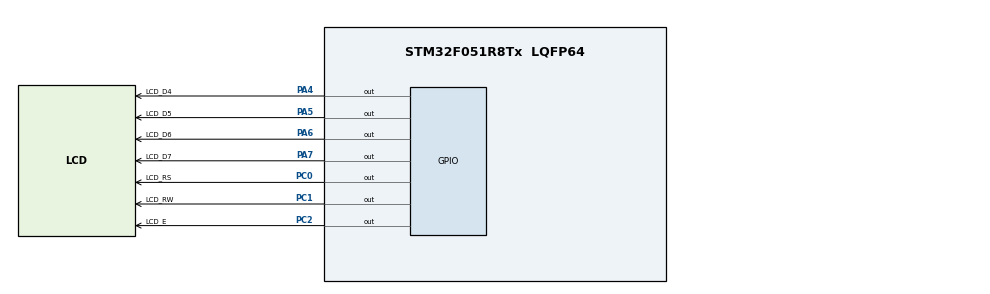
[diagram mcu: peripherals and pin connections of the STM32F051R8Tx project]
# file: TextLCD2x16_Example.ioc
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Mcu.Family=STM32F0
Mcu.Name=STM32F051R8Tx
Mcu.Package=LQFP64
PA13.Mode=Serial_Wire
PA13.Signal=SYS_SWDIO
PA14.Mode=Serial_Wire
PA14.Signal=SYS_SWCLK
PA4.GPIO_Label=LCD_D4
PA4.Signal=GPIO_Output
PA5.GPIO_Label=LCD_D5
PA5.Signal=GPIO_Output
PA6.GPIO_Label=LCD_D6
PA6.Signal=GPIO_Output
PA7.GPIO_Label=LCD_D7
PA7.Signal=GPIO_Output
PC0.GPIO_Label=LCD_RS
PC0.Signal=GPIO_Output
PC1.GPIO_Label=LCD_RW
PC1.Signal=GPIO_Output
PC2.GPIO_Label=LCD_E
PC2.Signal=GPIO_Output
ProjectManager.HeapSize=0x200
ProjectManager.StackSize=0x400
ProjectManager.TargetToolchain=MDK-ARM V5.32
board=custom

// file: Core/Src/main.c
/* USER CODE BEGIN Header */
/**
  ******************************************************************************
  * @file           : main.c
  * @brief          : Main program body
  ******************************************************************************
  * @attention
  *
  * Copyright (c) 2023 STMicroelectronics.
  * All rights reserved.
  *
  * This software is licensed under terms that can be found in the LICENSE file
  * in the root directory of this software component.
  * If no LICENSE file comes with this software, it is provided AS-IS.
  *
  ******************************************************************************
  */
/* USER CODE END Header */
#include "main.h"

/* USER CODE BEGIN Includes */
#include "myLCD.h"
/* USER CODE END Includes */

/* USER CODE BEGIN PV */
char* name = "Nguyen Duy Quy ";
/* USER CODE END PV */

void SystemClock_Config(void);
static void MX_GPIO_Init(void);
/* USER CODE BEGIN PFP */
void portA_Direction(uint8_t dir)//0 = input, 1 = output
{
	if(dir==0)
	{
		GPIOA->MODER=0X00;
		GPIOA->PUPDR=0X00;
	}else if(dir ==1)
	{
		GPIOA->MODER=0X55555555;
		GPIOA->PUPDR=0X00;
		GPIOA->OTYPER = 0x00;
		GPIOA->OSPEEDR = 0x33333333;
	}
}
/* USER CODE END PFP */

int main(void)
{
  /* USER CODE BEGIN 1 */
	char* ptr = name;
  /* USER CODE END 1 */

  /* MCU Configuration--------------------------------------------------------*/

  /* Reset of all peripherals, Initializes the Flash interface and the Systick. */
  HAL_Init();

  /* Configure the system clock */
  SystemClock_Config();

  /* Initialize all configured peripherals */
  MX_GPIO_Init();
  /* USER CODE BEGIN 2 */
	init_LCD();
	clr_LCD(); // clear LCD
	move_LCD(2,1);
	print_LCD("2x16 LCD Display",16);
  /* USER CODE END 2 */

  /* USER CODE END 2 */

  /* Infinite loop */
  /* USER CODE BEGIN WHILE */
  while (1)
		{
		for(int i =16;i>=1;i--)
		{
			move_LCD(1,i);
			print_LCD(name,16);
			HAL_Delay(500);
		}
		ptr = name;
		for(int i =15;i>=0;i--)
		{
		move_LCD(1,1);
		ptr++;
		print_LCD(ptr,i);
		HAL_Delay(500);
		}
    /* USER CODE END WHILE */

  }
}

void SystemClock_Config(void)
{
  RCC_OscInitTypeDef RCC_OscInitStruct = {0};
  RCC_ClkInitTypeDef RCC_ClkInitStruct = {0};

  /** Initializes the RCC Oscillators according to the specified parameters
  * in the RCC_OscInitTypeDef structure.
  */
  RCC_OscInitStruct.OscillatorType = RCC_OSCILLATORTYPE_HSI;
  RCC_OscInitStruct.HSIState = RCC_HSI_ON;
  RCC_OscInitStruct.HSICalibrationValue = RCC_HSICALIBRATION_DEFAULT;
  RCC_OscInitStruct.PLL.PLLState = RCC_PLL_NONE;
  if (HAL_RCC_OscConfig(&RCC_OscInitStruct) != HAL_OK)
  {
    Error_Handler();
  }

  /** Initializes the CPU, AHB and APB buses clocks
  */
  RCC_ClkInitStruct.ClockType = RCC_CLOCKTYPE_HCLK|RCC_CLOCKTYPE_SYSCLK
                              |RCC_CLOCKTYPE_PCLK1;
  RCC_ClkInitStruct.SYSCLKSource = RCC_SYSCLKSOURCE_HSI;
  RCC_ClkInitStruct.AHBCLKDivider = RCC_SYSCLK_DIV1;
  RCC_ClkInitStruct.APB1CLKDivider = RCC_HCLK_DIV1;

  if (HAL_RCC_ClockConfig(&RCC_ClkInitStruct, FLASH_LATENCY_0) != HAL_OK)
  {
    Error_Handler();
  }
}

static void MX_GPIO_Init(void)
{
  GPIO_InitTypeDef GPIO_InitStruct = {0};

  /* GPIO Ports Clock Enable */
  __HAL_RCC_GPIOC_CLK_ENABLE();
  __HAL_RCC_GPIOA_CLK_ENABLE();

  /*Configure GPIO pin Output Level */
  HAL_GPIO_WritePin(GPIOC, LCD_RS_Pin|LCD_RW_Pin|LCD_E_Pin, GPIO_PIN_RESET);

  /*Configure GPIO pin Output Level */
  HAL_GPIO_WritePin(GPIOA, LCD_D4_Pin|LCD_D5_Pin|LCD_D6_Pin|LCD_D7_Pin, GPIO_PIN_RESET);

  /*Configure GPIO pins : LCD_RS_Pin LCD_RW_Pin LCD_E_Pin */
  GPIO_InitStruct.Pin = LCD_RS_Pin|LCD_RW_Pin|LCD_E_Pin;
  GPIO_InitStruct.Mode = GPIO_MODE_OUTPUT_PP;
  GPIO_InitStruct.Pull = GPIO_NOPULL;
  GPIO_InitStruct.Speed = GPIO_SPEED_FREQ_LOW;
  HAL_GPIO_Init(GPIOC, &GPIO_InitStruct);

  /*Configure GPIO pins : LCD_D4_Pin LCD_D5_Pin LCD_D6_Pin LCD_D7_Pin */
  GPIO_InitStruct.Pin = LCD_D4_Pin|LCD_D5_Pin|LCD_D6_Pin|LCD_D7_Pin;
  GPIO_InitStruct.Mode = GPIO_MODE_OUTPUT_PP;
  GPIO_InitStruct.Pull = GPIO_NOPULL;
  GPIO_InitStruct.Speed = GPIO_SPEED_FREQ_LOW;
  HAL_GPIO_Init(GPIOA, &GPIO_InitStruct);

}

void Error_Handler(void)
{
  __disable_irq();
  while (1)
  {
  }
}
